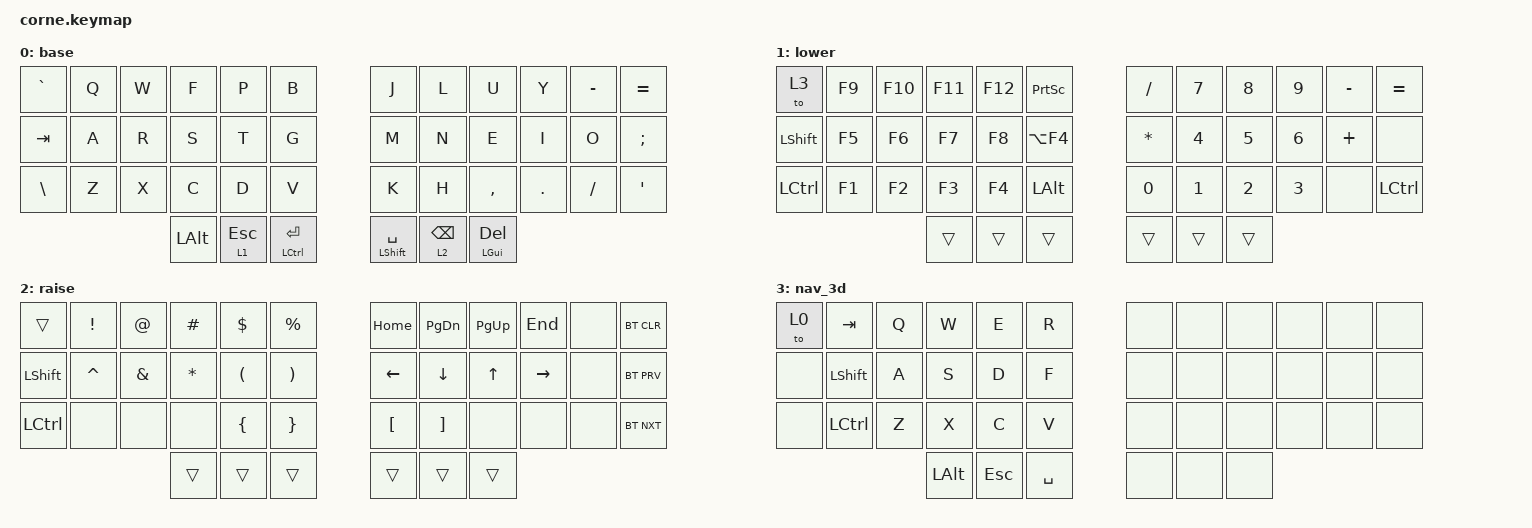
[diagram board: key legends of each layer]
/*
 * Copyright (c) 2020 The ZMK Contributors
 *
 * SPDX-License-Identifier: MIT
 */

#include <behaviors.dtsi>
#include <dt-bindings/zmk/bt.h>
#include <dt-bindings/zmk/keys.h>

/ {
    behaviors {
        tkm: thumb_keys_mod {
            compatible = "zmk,behavior-hold-tap";
            label = "THUMB_KEYS_MOD";
            bindings = <&kp>, <&kp>;

            #binding-cells = <2>;
            tapping-term-ms = <200>;
            quick-tap-ms = <200>;
            require-prior-idle-ms = <100>;
            flavor = "balanced";
        };

        tkl: thumb_key_layer {
            compatible = "zmk,behavior-hold-tap";
            label = "THUMB_KEY_LAYER";
            bindings = <&mo>, <&kp>;

            #binding-cells = <2>;
            tapping-term-ms = <200>;
            quick-tap-ms = <200>;
            flavor = "tap-preferred";
        };
    };

    keymap {
        compatible = "zmk,keymap";

        default_layer {
            display-name = "base";
            bindings = <
&kp GRAVE  &kp Q  &kp W  &kp F     &kp P       &kp B             &kp J              &kp L        &kp U          &kp Y    &kp MINUS  &kp EQUAL
&kp TAB    &kp A  &kp R  &kp S     &kp T       &kp G             &kp M              &kp N        &kp E          &kp I    &kp O      &kp SEMI
&kp BSLH   &kp Z  &kp X  &kp C     &kp D       &kp V             &kp K              &kp H        &kp COMMA      &kp DOT  &kp FSLH   &kp SQT
                         &kp LALT  &tkl 1 ESC  &tkm LCTRL RET    &tkm LSHIFT SPACE  &tkl 2 BSPC  &tkm LGUI DEL
            >;
        };

        lower_layer {
            display-name = "lower";
            bindings = <
&to 3             &kp F9  &kp F10  &kp F11  &kp F12  &kp PRINTSCREEN    &kp SLASH     &kp N7  &kp N8  &kp N9  &kp MINUS  &kp EQUAL
&kp LEFT_SHIFT    &kp F5  &kp F6   &kp F7   &kp F8   &kp LA(F4)         &kp ASTERISK  &kp N4  &kp N5  &kp N6  &kp PLUS   &none
&kp LEFT_CONTROL  &kp F1  &kp F2   &kp F3   &kp F4   &kp LEFT_ALT       &kp N0        &kp N1  &kp N2  &kp N3  &none      &kp LEFT_CONTROL
                                   &trans   &trans   &trans             &trans        &trans  &trans
            >;
        };

        raise_layer {
            display-name = "raise";
            bindings = <
&trans            &kp EXCL   &kp AT    &kp HASH   &kp DLLR        &kp PRCNT          &kp HOME          &kp PG_DN          &kp PG_UP  &kp END    &none  &bt BT_CLR
&kp LEFT_SHIFT    &kp CARET  &kp AMPS  &kp ASTRK  &kp LPAR        &kp RPAR           &kp LEFT          &kp DOWN           &kp UP     &kp RIGHT  &none  &bt BT_PRV
&kp LEFT_CONTROL  &none      &none     &none      &kp LEFT_BRACE  &kp RIGHT_BRACE    &kp LEFT_BRACKET  &kp RIGHT_BRACKET  &none      &none      &none  &bt BT_NXT
                                       &trans     &trans          &trans             &trans            &trans             &trans
            >;
        };

        nav_3d {
            display-name = "nav_3d";
            bindings = <
&to 0  &kp TAB    &kp Q  &kp W         &kp E       &kp R        &none  &none  &none  &none  &none  &none
&none  &kp LSHFT  &kp A  &kp S         &kp D       &kp F        &none  &none  &none  &none  &none  &none
&none  &kp LCTRL  &kp Z  &kp X         &kp C       &kp V        &none  &none  &none  &none  &none  &none
                         &kp LEFT_ALT  &kp ESCAPE  &kp SPACE    &none  &none  &none
            >;
        };
    };
};
